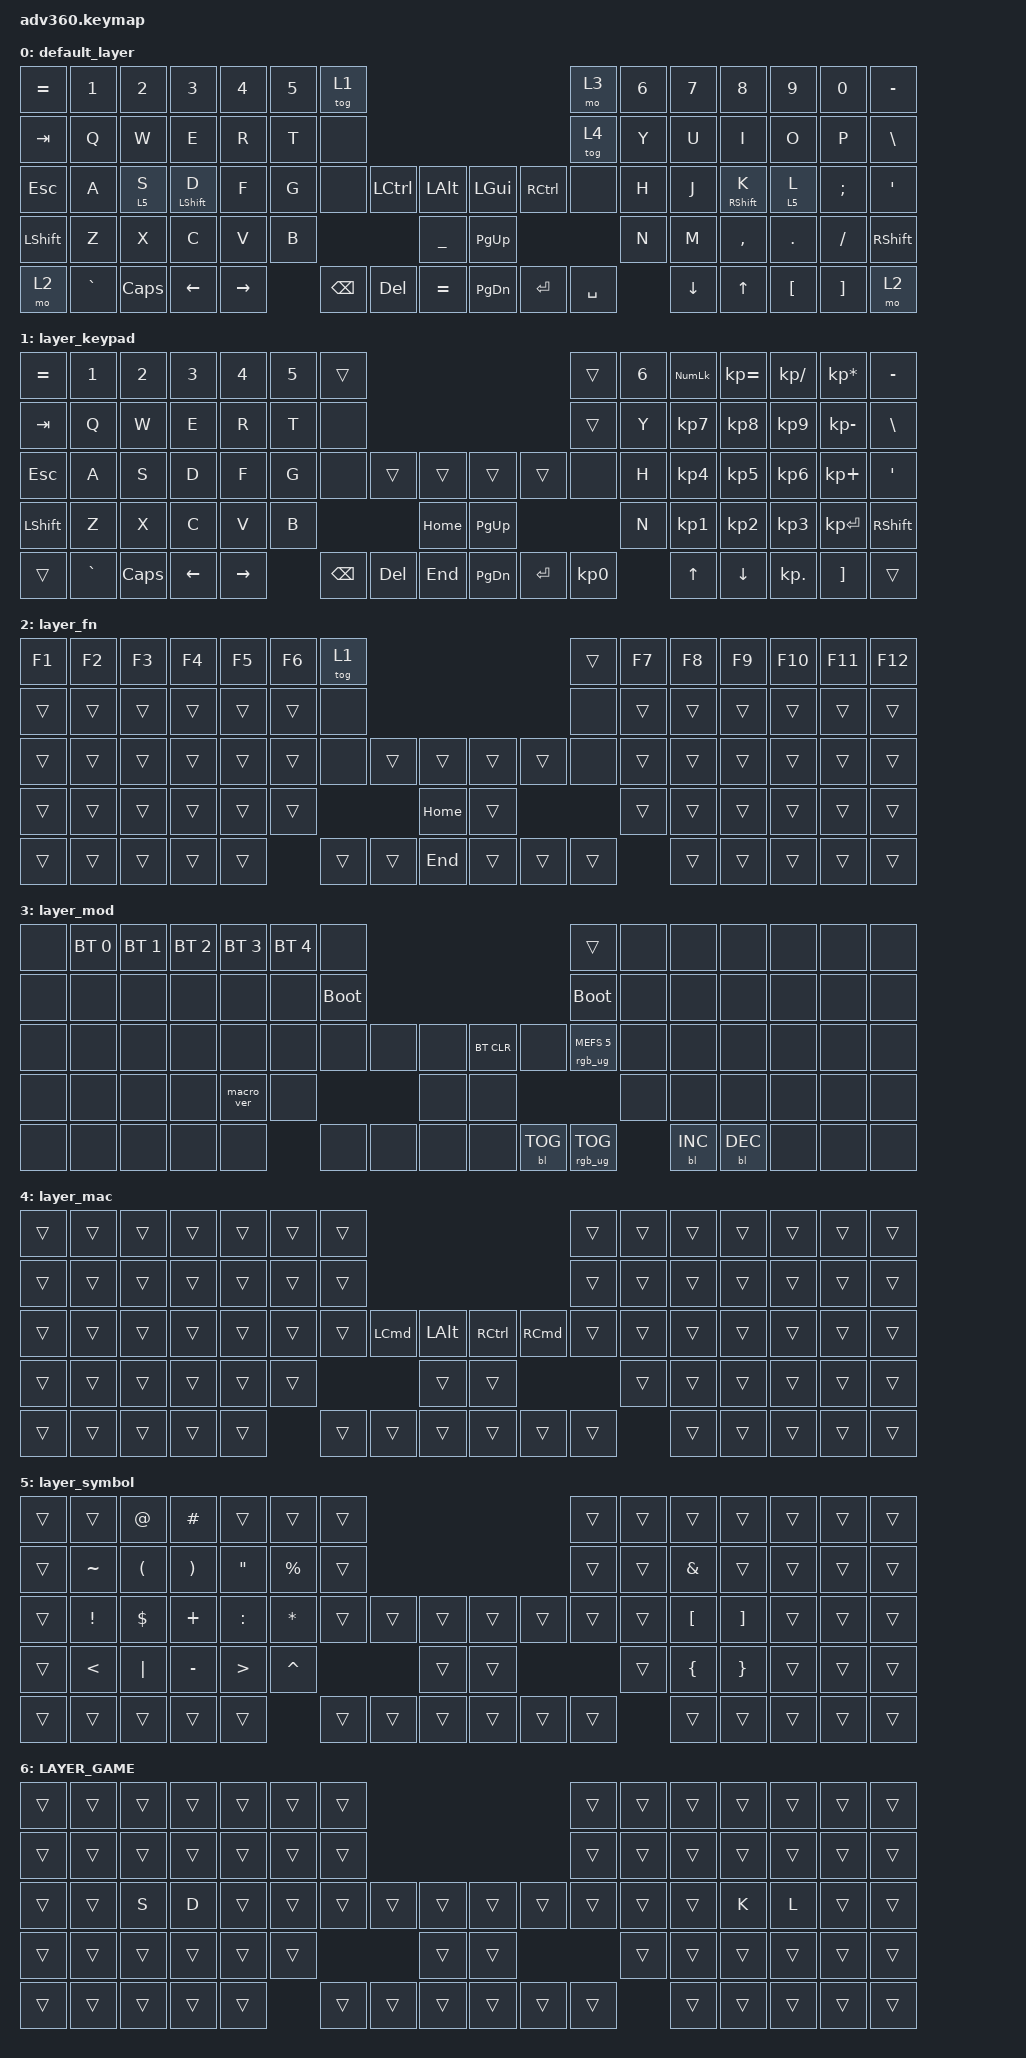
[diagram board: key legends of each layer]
/*
 * Copyright (c) 2020 The ZMK Contributors
 *
 * SPDX-License-Identifier: MIT
 */
/* THIS FILE WAS GENERATED!
 *
 * This file was generated automatically. You may or may not want to
 * edit it directly.
 */

#include <behaviors.dtsi>
#include <dt-bindings/zmk/backlight.h>
#include <dt-bindings/zmk/bt.h>
#include <dt-bindings/zmk/keys.h>
#include <dt-bindings/zmk/rgb.h>

#define LAYER_DEFAULT 0
#define LAYER_KEYPAD 1
#define LAYER_FN 2
#define LAYER_MOD 3
#define LAYER_MAC 4
#define LAYER_SYMBOL 5

/ {
    behaviors {
        #include "macros.dtsi"
        #include "version.dtsi"

        hm: homerow_mods {
            compatible = "zmk,behavior-hold-tap";
            label = "HOMEROW_MODS";
            #binding-cells = <2>;
            tapping-term-ms = <180>;
            flavor = "balanced";
            bindings = <&kp>, <&kp>;
        };

        blt: basic_layer_tap {
            compatible = "zmk,behavior-hold-tap";
            label = "BASIC_LAYER_TAP";
            #binding-cells = <2>;
            tapping-term-ms = <180>;
            flavor = "balanced";
            bindings = <&mo>, <&kp>;
        };
    };

    keymap {
        compatible = "zmk,keymap";

        default_layer {
            bindings = <
&kp EQUAL  &kp N1     &kp N2    &kp N3            &kp N4     &kp N5  &tog 1                                                         &mo 3      &kp N6  &kp N7    &kp N8             &kp N9    &kp N0    &kp MINUS
&kp TAB    &kp Q      &kp W     &kp E             &kp R      &kp T   &none                                                          &tog 4     &kp Y   &kp U     &kp I              &kp O     &kp P     &kp BSLH
&kp ESC    &kp A      &blt 5 S  &hm LEFT_SHIFT D  &kp F      &kp G   &none     &kp LCTRL  &kp LALT            &kp LGUI   &kp RCTRL  &none      &kp H   &kp J     &hm RIGHT_SHIFT K  &blt 5 L  &kp SEMI  &kp SQT
&kp LSHFT  &kp Z      &kp X     &kp C             &kp V      &kp B                        &kp UNDERSCORE      &kp PG_UP                        &kp N   &kp M     &kp COMMA          &kp DOT   &kp FSLH  &kp RSHFT
&mo 2      &kp GRAVE  &kp CAPS  &kp LEFT          &kp RIGHT          &kp BSPC  &kp DEL    &kp EQUAL           &kp PG_DN  &kp ENTER  &kp SPACE          &kp DOWN  &kp UP             &kp LBKT  &kp RBKT  &mo 2
            >;
        };

        layer_keypad {
            bindings = <
&kp EQUAL  &kp N1     &kp N2    &kp N3    &kp N4     &kp N5  &trans                                                 &trans     &kp N6  &kp KP_NUM  &kp KP_EQUAL  &kp KP_DIVIDE  &kp KP_MULTIPLY  &kp MINUS
&kp TAB    &kp Q      &kp W     &kp E     &kp R      &kp T   &none                                                  &trans     &kp Y   &kp KP_N7   &kp KP_N8     &kp KP_N9      &kp KP_MINUS     &kp BSLH
&kp ESC    &kp A      &kp S     &kp D     &kp F      &kp G   &none     &trans   &trans        &trans     &trans     &none      &kp H   &kp KP_N4   &kp KP_N5     &kp KP_N6      &kp KP_PLUS      &kp SQT
&kp LSHFT  &kp Z      &kp X     &kp C     &kp V      &kp B                      &kp HOME      &kp PG_UP                        &kp N   &kp KP_N1   &kp KP_N2     &kp KP_N3      &kp KP_ENTER     &kp RSHFT
&trans     &kp GRAVE  &kp CAPS  &kp LEFT  &kp RIGHT          &kp BSPC  &kp DEL  &kp END       &kp PG_DN  &kp ENTER  &kp KP_N0          &kp UP      &kp DOWN      &kp KP_DOT     &kp RBKT         &trans
            >;
        };

        layer_fn {
            bindings = <
&kp F1  &kp F2  &kp F3  &kp F4  &kp F5  &kp F6  &tog 1                                        &trans  &kp F7  &kp F8  &kp F9  &kp F10  &kp F11  &kp F12
&trans  &trans  &trans  &trans  &trans  &trans  &none                                         &none   &trans  &trans  &trans  &trans   &trans   &trans
&trans  &trans  &trans  &trans  &trans  &trans  &none   &trans  &trans        &trans  &trans  &none   &trans  &trans  &trans  &trans   &trans   &trans
&trans  &trans  &trans  &trans  &trans  &trans                  &kp HOME      &trans                  &trans  &trans  &trans  &trans   &trans   &trans
&trans  &trans  &trans  &trans  &trans          &trans  &trans  &kp END       &trans  &trans  &trans          &trans  &trans  &trans   &trans   &trans
            >;
        };

        layer_mod {
            bindings = <
&none  &bt BT_SEL 0  &bt BT_SEL 1  &bt BT_SEL 2  &bt BT_SEL 3  &bt BT_SEL 4  &none                                                  &trans                  &none  &none       &none       &none  &none  &none
&none  &none         &none         &none         &none         &none         &bootloader                                            &bootloader             &none  &none       &none       &none  &none  &none
&none  &none         &none         &none         &none         &none         &none        &none  &none      &bt BT_CLR  &none       &rgb_ug RGB_MEFS_CMD 5  &none  &none       &none       &none  &none  &none
&none  &none         &none         &none         &macro_ver    &none                             &none      &none                                           &none  &none       &none       &none  &none  &none
&none  &none         &none         &none         &none                       &none        &none  &none      &none       &bl BL_TOG  &rgb_ug RGB_TOG                &bl BL_INC  &bl BL_DEC  &none  &none  &none
            >;
        };

        layer_mac {
            bindings = <
&trans  &trans  &trans  &trans  &trans  &trans  &trans                                                                            &trans  &trans  &trans  &trans  &trans  &trans  &trans
&trans  &trans  &trans  &trans  &trans  &trans  &trans                                                                            &trans  &trans  &trans  &trans  &trans  &trans  &trans
&trans  &trans  &trans  &trans  &trans  &trans  &trans  &kp LEFT_COMMAND  &kp LEFT_ALT      &kp RIGHT_CONTROL  &kp RIGHT_COMMAND  &trans  &trans  &trans  &trans  &trans  &trans  &trans
&trans  &trans  &trans  &trans  &trans  &trans                            &trans            &trans                                        &trans  &trans  &trans  &trans  &trans  &trans
&trans  &trans  &trans  &trans  &trans          &trans  &trans            &trans            &trans             &trans             &trans          &trans  &trans  &trans  &trans  &trans
            >;
        };

        layer_symbol {
            bindings = <
&trans  &trans           &kp AT_SIGN           &kp HASH               &trans             &trans        &trans                                      &trans  &trans  &trans            &trans             &trans  &trans  &trans
&trans  &kp TILDE        &kp LEFT_PARENTHESIS  &kp RIGHT_PARENTHESIS  &kp DOUBLE_QUOTES  &kp PERCENT   &trans                                      &trans  &trans  &kp AMPS          &trans             &trans  &trans  &trans
&trans  &kp EXCLAMATION  &kp DOLLAR            &kp PLUS               &kp COLON          &kp ASTERISK  &trans  &trans  &trans      &trans  &trans  &trans  &trans  &kp LEFT_BRACKET  &kp RIGHT_BRACKET  &trans  &trans  &trans
&trans  &kp LESS_THAN    &kp PIPE              &kp MINUS              &kp GREATER_THAN   &kp CARET                     &trans      &trans                  &trans  &kp LEFT_BRACE    &kp RIGHT_BRACE    &trans  &trans  &trans
&trans  &trans           &trans                &trans                 &trans                           &trans  &trans  &trans      &trans  &trans  &trans          &trans            &trans             &trans  &trans  &trans
            >;
        };

        layer_game {
            bindings = <
&trans  &trans  &trans  &trans  &trans  &trans  &trans                                      &trans  &trans  &trans  &trans  &trans  &trans  &trans
&trans  &trans  &trans  &trans  &trans  &trans  &trans                                      &trans  &trans  &trans  &trans  &trans  &trans  &trans
&trans  &trans  &kp S   &kp D   &trans  &trans  &trans  &trans  &trans      &trans  &trans  &trans  &trans  &trans  &kp K   &kp L   &trans  &trans
&trans  &trans  &trans  &trans  &trans  &trans                  &trans      &trans                  &trans  &trans  &trans  &trans  &trans  &trans
&trans  &trans  &trans  &trans  &trans          &trans  &trans  &trans      &trans  &trans  &trans          &trans  &trans  &trans  &trans  &trans
            >;

            label = "LAYER_GAME";
        };
    };
};
